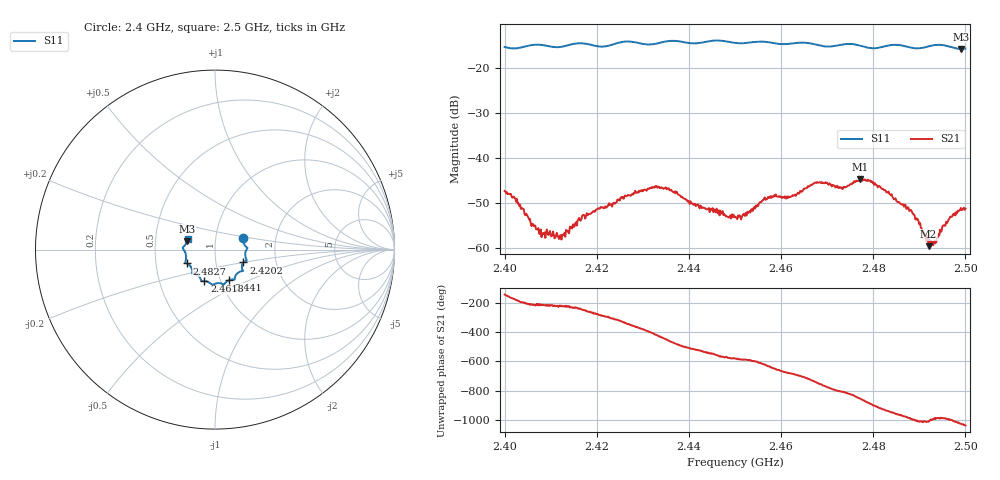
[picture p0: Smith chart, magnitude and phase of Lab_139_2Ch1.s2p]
# Hz S RI R 50
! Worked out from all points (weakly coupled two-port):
!   601 points, 2.4 GHz to 2.5 GHz, reference 50 ohm
!   highest |S21| = -44.76 dB at 2.4772 GHz (marker M1); lowest = -59.7 dB at 2.492 GHz (marker M2)
!   lowest |S11| = -15.8 dB at 2.499 GHz (marker M3), VSWR 1.39, Z = 36.4 + j3.49 ohm
!   |S11| at or under -10 dB: start of sweep to end of sweep
!   S12 and S22 are empty: the file has one direction only
!   S11 on the Smith chart (normalised r, x): 2.4 GHz: 1.36, +0.18; 2.4202 GHz: 1.36, -0.20; 2.441 GHz: 1.10, -0.39; 2.4618 GHz: 0.84, -0.30; 2.4827 GHz: 0.72, -0.12; 2.5 GHz: 0.73, +0.09
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2.4e9  0.1584 0.0626  -0.00332 -0.00268  0 0  0 0
2.4025e9  0.1615 0.033  -0.00323 2.51e-05  0 0  0 0
2.408e9  0.1795 0.0066  -0.00111 0.000674  0 0  0 0
2.412167e9  0.1681 -0.03  -0.00102 0.000913  0 0  0 0
2.416667e9  0.1773 -0.0606  -0.000978 0.00183  0 0  0 0
2.420167e9  0.1583 -0.0714  0.000158 0.00268  0 0  0 0
2.433333e9  0.1118 -0.1509  0.00208 -0.0042  0 0  0 0
2.441e9  0.0785 -0.1697  -0.00268 -0.00133  0 0  0 0
2.45e9  0.0283 -0.1874  -0.00168 0.00143  0 0  0 0
2.456833e9  -0.0188 -0.1929  -0.000138 0.00344  0 0  0 0
2.461833e9  -0.0592 -0.1755  0.00277 0.00235  0 0  0 0
2.466667e9  -0.0785 -0.1683  0.00488 -0.000874  0 0  0 0
2.4735e9  -0.1228 -0.1348  -5.11e-05 -0.00471  0 0  0 0
2.477167e9  -0.1265 -0.1232  -0.00408 -0.00409  0 0  0 0
2.482667e9  -0.1561 -0.0773  -0.00352 0.00247  0 0  0 0
2.483333e9  -0.1605 -0.0753  -0.00318 0.00274  0 0  0 0
2.4885e9  -0.1609 -0.0434  0.000432 0.00239  0 0  0 0
2.492e9  -0.173 -0.00216  0.000405 0.000952  0 0  0 0
2.493333e9  -0.1789 0.00591  -5.32e-05 0.00119  0 0  0 0
2.496333e9  -0.1727 0.0186  0.000297 0.00202  0 0  0 0
2.499e9  -0.1553 0.0466  0.0016 0.00224  0 0  0 0
2.5e9  -0.1522 0.0608  0.00203 0.0018  0 0  0 0
